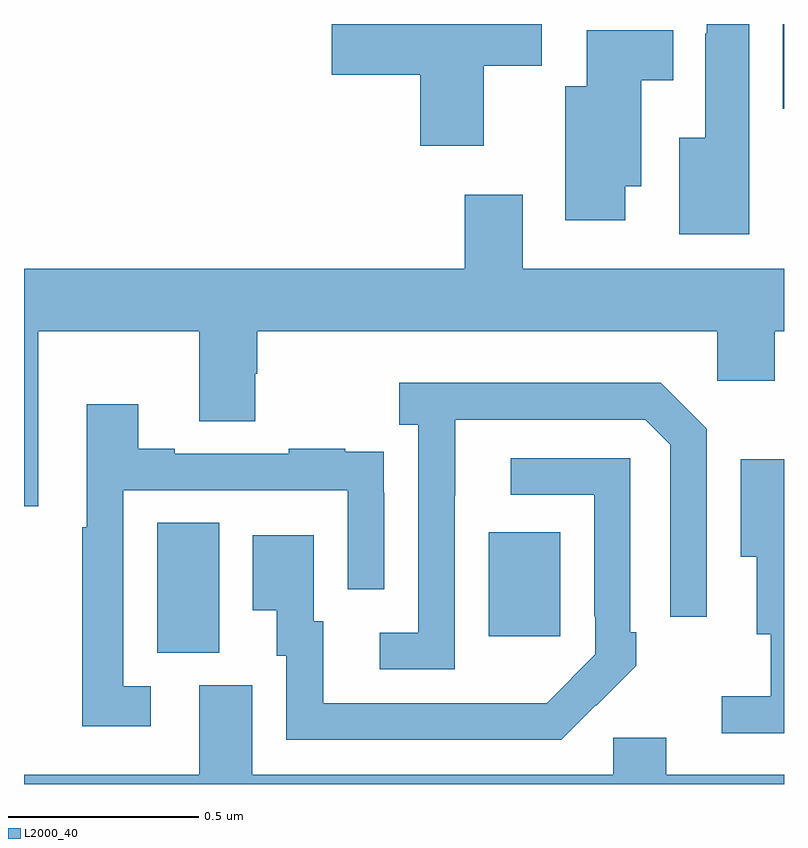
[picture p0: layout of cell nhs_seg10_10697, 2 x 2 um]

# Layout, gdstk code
import gdstk
lib = gdstk.Library(unit=1e-6, precision=1e-09)
def R(c, l, rs):  # rectangles x0, y0, x1, y1
    for r in rs: c.add(gdstk.rectangle(r[:2], r[2:], *l))
def P(c, l, *ps):  # polygons
    for p in ps: c.add(gdstk.Polygon(p, *l))
L2000_40 = (2000, 40)

nhs_seg10_10697 = lib.new_cell('nhs_seg10_10697')
R(nhs_seg10_10697, L2000_40, [(246.35,1256.845,246.514,1257.188), (247.223,1256.889,247.411,1257.163), (247.997,1258.277,248,1258.5)])
P(nhs_seg10_10697, L2000_40, [(247.21,1258.39),(247.363,1258.39),(247.363,1258.5),(246.81,1258.5),(246.81,1258.367),(247.043,1258.367),(247.043,1258.179),(247.21,1258.179)],
  [(247.909,1258.5),(247.797,1258.5),(247.797,1258.475),(247.793,1258.475),(247.793,1258.201),(247.724,1258.201),(247.724,1257.947),(247.909,1257.947)],
  [(247.582,1258.073),(247.624,1258.073),(247.624,1258.352),(247.708,1258.352),(247.708,1258.483),(247.481,1258.483),(247.481,1258.336),(247.424,1258.336),(247.424,1257.984),(247.582,1257.984)],
  [(246.037,1257.692),(246.461,1257.692),(246.461,1257.454),(246.609,1257.454),(246.609,1257.579),(246.614,1257.579),(246.614,1257.692),(247.824,1257.692),(247.824,1257.561),(247.976,1257.561),(247.976,1257.692),(248,1257.692),(248,1257.856),(247.312,1257.856),(247.312,1258.051),(247.16,1258.051),(247.16,1257.856),(246,1257.856),(246,1257.231),(246.037,1257.231)],
  [(247.134,1257.259),(247.135,1257.259),(247.135,1257.459),(247.635,1257.459),(247.701,1257.393),(247.701,1256.94),(247.797,1256.94),(247.797,1257.435),(247.676,1257.556),(246.987,1257.556),(246.987,1257.446),(247.038,1257.446),(247.038,1256.898),(246.936,1256.898),(246.936,1256.802),(247.134,1256.802)],
  [(246.334,1256.757),(246.261,1256.757),(246.261,1257.273),(246.852,1257.273),(246.852,1257.012),(246.948,1257.012),(246.948,1257.266),(246.947,1257.266),(246.947,1257.375),(246.845,1257.375),(246.845,1257.382),(246.697,1257.382),(246.697,1257.369),(246.397,1257.369),(246.397,1257.382),(246.301,1257.382),(246.301,1257.499),(246.165,1257.499),(246.165,1257.176),(246.153,1257.176),(246.153,1256.652),(246.334,1256.652)],
  [(247.505,1256.707),(247.506,1256.706),(247.611,1256.811),(247.611,1256.899),(247.596,1256.899),(247.596,1257.357),(247.281,1257.357),(247.281,1257.261),(247.5,1257.261),(247.5,1256.941),(247.503,1256.941),(247.503,1256.841),(247.375,1256.713),(247.271,1256.713),(247.271,1256.712),(246.787,1256.712),(246.787,1256.928),(246.763,1256.928),(246.763,1257.154),(246.602,1257.154),(246.602,1256.957),(246.665,1256.957),(246.665,1256.838),(246.69,1256.838),(246.69,1256.616),(247.414,1256.616)],
  [(248,1257.355),(247.886,1257.355),(247.886,1257.098),(247.928,1257.098),(247.928,1256.894),(247.965,1256.894),(247.965,1256.731),(247.836,1256.731),(247.836,1256.634),(248,1256.634)],
  [(248,1256.524),(247.69,1256.524),(247.69,1256.622),(247.551,1256.622),(247.551,1256.524),(246.601,1256.524),(246.601,1256.76),(246.461,1256.76),(246.461,1256.524),(246,1256.524),(246,1256.5),(248,1256.5)])

lib.write_gds('nhs_seg10_10697.gds')
